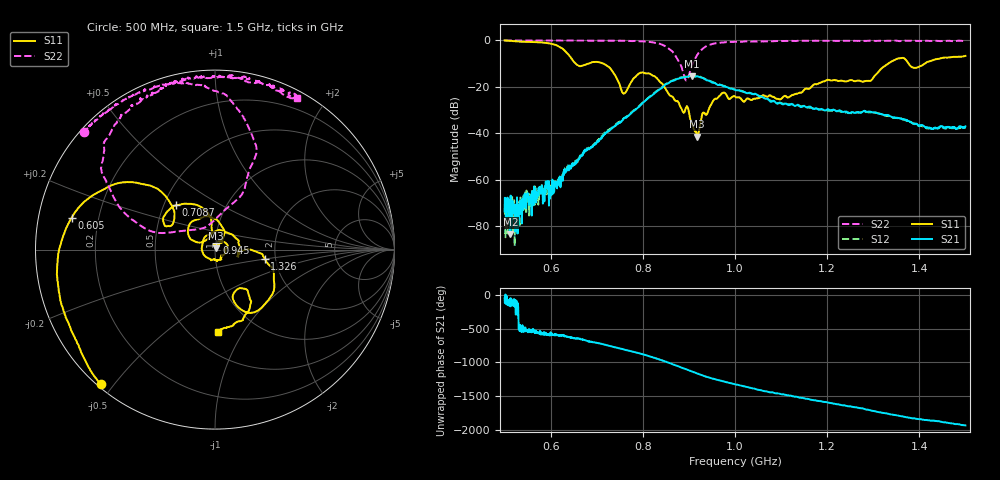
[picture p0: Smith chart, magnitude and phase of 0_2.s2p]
!Agilent Technologies,E8364B,US42250235,A.06.04.32
!Agilent E8364B: A.06.04.32
!Date: Friday, January 15, 2021 15:01:41
!Correction: S11(Full 2 Port(1,2)) S21(Full 2 Port(1,2)) S12(Full 2 Port(1,2)) S22(Full 2 Port(1,2))
!S2P File: Measurements: S11, S21, S12, S22:
# Hz S  dB  R 50
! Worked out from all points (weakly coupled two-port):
!   1601 points, 500 MHz to 1.5 GHz, reference 50 ohm
!   highest |S21| = -15.40 dB at 905.6 MHz (marker M1); lowest = -83.3 dB at 512.5 MHz (marker M2)
!   lowest |S11| = -41.5 dB at 918.1 MHz (marker M3), VSWR 1.02, Z = 50.3 + j0.77 ohm
!   |S11| at or under -10 dB: 653.5 MHz to 683.7 MHz (30.2 MHz wide, 4.52 % of centre); 713.2 MHz to 1.333 GHz (619.9 MHz wide, 60.6 % of centre); 1.376 GHz to 1.413 GHz (36.39 MHz wide, 2.61 % of centre)
!   |S22| runs from -17.4 to -0.1 dB; largest |S21 - S12| = 0.0065
!   S11 on the Smith chart (normalised r, x): 500 MHz: 0.01, -0.46; 605 MHz: 0.10, +0.11; 708.8 MHz: 0.58, +0.32; 945 MHz: 1.01, +0.07; 1.326 GHz: 1.75, -0.20; 1.5 GHz: 0.67, -0.78
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5e8  -0.15 -130.4  -73.54 -47.7  -76.06 -31.4  -0.16 138.1
5.125e8  -0.30 -136.1  -83.32 -48.6  -72.16 -141.1  -0.17 136.4
5.28125e8  -0.58 -143.2  -83.07 63.8  -69.20 -116.9  -0.16 135.3
5.46875e8  -0.75 -151.5  -66.58 -155.7  -74.69 -143.0  -0.16 134.3
6.05e8  -1.75 167.4  -60.57 130.6  -62.83 154.6  -0.21 127.7
6.30625e8  -4.55 140.7  -56.25 107.8  -56.85 121.1  -0.18 125.1
6.66875e8  -11.07 151.7  -49.26 62.1  -48.86 64.8  -0.21 121.3
7.0875e8  -9.69 131.3  -42.20 -1.3  -41.85 1.2  -0.26 117.0
7.5875e8  -22.92 126.7  -33.62 -87.8  -33.50 -87.3  -0.31 109.2
7.95e8  -13.99 135.5  -27.95 -149.7  -27.69 -150.4  -0.48 100.9
8.3375e8  -17.17 75.6  -21.52 128.5  -21.28 128.8  -1.40 85.0
8.63125e8  -24.10 52.7  -17.56 56.2  -17.44 57.2  -4.70 66.7
8.9375e8  -28.93 56.6  -15.84 -21.0  -15.58 -20.8  -17.30 109.8
9.05625e8  -35.09 42.3  -15.40 -52.4  -15.21 -52.5  -11.28 159.6
9.18125e8  -41.53 65.8  -15.57 -84.5  -15.48 -84.9  -6.35 160.4
9.45e8  -28.79 77.0  -17.56 -147.4  -17.48 -147.4  -2.03 142.8
1e9  -24.25 -19.4  -21.39 115.5  -21.22 115.4  -0.71 120.2
1.166875e9  -19.85 88.5  -29.19 -117.1  -29.18 -115.7  -0.34 97.2
1.291875e9  -17.51 -5.4  -30.75 91.8  -31.01 92.1  -0.24 84.1
1.32625e9  -10.99 -10.6  -32.25 46.2  -32.37 42.8  -0.32 80.8
1.33375e9  -9.90 -16.3  -32.34 33.4  -32.62 33.6  -0.30 79.3
1.5e9  -6.78 -88.1  -37.08 -136.3  -37.58 -138.5  -0.37 61.7
